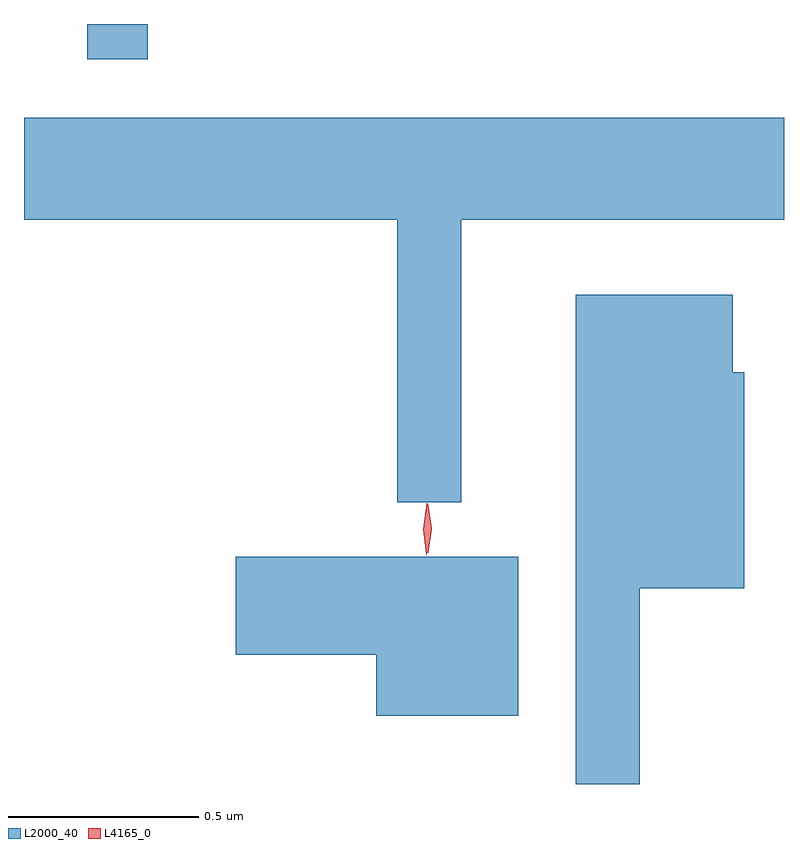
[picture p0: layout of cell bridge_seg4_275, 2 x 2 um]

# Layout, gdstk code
import gdstk
lib = gdstk.Library(unit=1e-6, precision=1e-09)
def R(c, l, rs):  # rectangles x0, y0, x1, y1
    for r in rs: c.add(gdstk.rectangle(r[:2], r[2:], *l))
def P(c, l, *ps):  # polygons
    for p in ps: c.add(gdstk.Polygon(p, *l))
L2000_40 = (2000, 40)
L4165_0 = (4165, 0)

bridge_seg4_275 = lib.new_cell('bridge_seg4_275')
R(bridge_seg4_275, L2000_40, [(536.436,1372.858,536.594,1372.951)])
P(bridge_seg4_275, L2000_40, [(537.419,1372.436),(538.269,1372.436),(538.269,1372.704),(536.269,1372.704),(536.269,1372.436),(537.251,1372.436),(537.251,1371.693),(537.419,1371.693)],
  [(537.889,1371.466),(538.164,1371.466),(538.164,1372.034),(538.134,1372.034),(538.134,1372.239),(537.721,1372.239),(537.721,1370.951),(537.889,1370.951)],
  [(537.569,1371.549),(536.826,1371.549),(536.826,1371.291),(537.196,1371.291),(537.196,1371.131),(537.569,1371.131)])
P(bridge_seg4_275, L4165_0, [(537.332,1371.56),(537.332,1371.56),(537.322,1371.623),(537.332,1371.686),(537.332,1371.687),(537.333,1371.686),(537.342,1371.623),(537.333,1371.56)],
  [(537.328,1371.554),(537.328,1371.554),(537.319,1371.622),(537.329,1371.69),(537.33,1371.69),(537.33,1371.69),(537.339,1371.622),(537.329,1371.554)])

lib.write_gds('bridge_seg4_275.gds')
